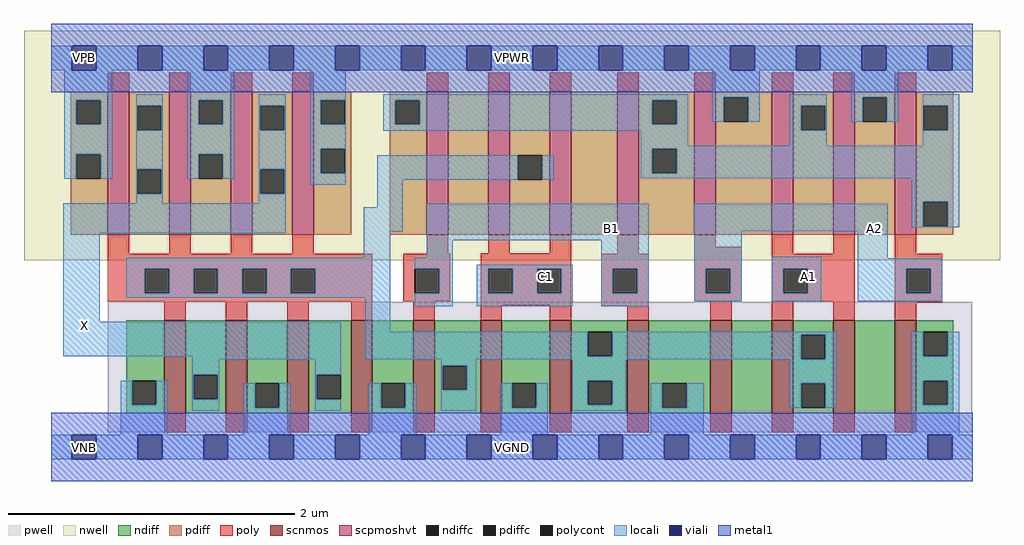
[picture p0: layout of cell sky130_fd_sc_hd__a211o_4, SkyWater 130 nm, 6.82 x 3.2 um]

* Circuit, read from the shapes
.subckt sky130_fd_sc_hd__a211o_4 A1 A2 B1 C1 VGND VNB VPB VPWR X
XM1 X n1 VGND VNB sky130_fd_pr__nfet_01v8 w=0.65 l=0.15 m=4
XM2 n1 B1 VGND VNB sky130_fd_pr__nfet_01v8 w=0.65 l=0.15 m=2
XM3 VGND C1 n1 VNB sky130_fd_pr__nfet_01v8 w=0.65 l=0.15 m=2
XM4 n2 A2 VGND VNB sky130_fd_pr__nfet_01v8 w=0.65 l=0.15
XM5 n1 A1 n2 VNB sky130_fd_pr__nfet_01v8 w=0.65 l=0.15
XM6 n3 A1 n1 VNB sky130_fd_pr__nfet_01v8 w=0.65 l=0.15
XM7 VGND A2 n3 VNB sky130_fd_pr__nfet_01v8 w=0.65 l=0.15
XM8 X n1 VPWR VPB sky130_fd_pr__pfet_01v8_hvt w=1 l=0.15 m=4
XM9 n4 B1 n5 VPB sky130_fd_pr__pfet_01v8_hvt w=1 l=0.15
XM10 n1 C1 n4 VPB sky130_fd_pr__pfet_01v8_hvt w=1 l=0.15
XM11 n6 C1 n1 VPB sky130_fd_pr__pfet_01v8_hvt w=1 l=0.15
XM12 n5 B1 n6 VPB sky130_fd_pr__pfet_01v8_hvt w=1 l=0.15
XM13 VPWR A2 n5 VPB sky130_fd_pr__pfet_01v8_hvt w=1 l=0.15 m=2
XM14 n5 A1 VPWR VPB sky130_fd_pr__pfet_01v8_hvt w=1 l=0.15 m=2
.ends

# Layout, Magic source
magic
tech sky130B
magscale 1 2
<< nwell >>
rect -38 261 1326 582
<< pwell >>
rect 79 21 1287 203
rect 29 -17 63 17
<< scnmos >>
rect 158 47 188 177
rect 244 47 274 177
rect 330 47 360 177
rect 419 47 449 177
rect 506 47 536 177
rect 600 47 630 177
rect 697 47 727 177
rect 805 47 835 177
rect 921 47 951 177
rect 1007 47 1037 177
rect 1093 47 1123 177
rect 1179 47 1209 177
<< scpmoshvt >>
rect 79 297 109 497
rect 165 297 195 497
rect 251 297 281 497
rect 337 297 367 497
rect 525 297 555 497
rect 611 297 641 497
rect 697 297 727 497
rect 791 297 821 497
rect 899 297 929 497
rect 1007 297 1037 497
rect 1093 297 1123 497
rect 1179 297 1209 497
<< ndiff >>
rect 105 93 158 177
rect 105 59 113 93
rect 147 59 158 93
rect 105 47 158 59
rect 188 101 244 177
rect 188 67 199 101
rect 233 67 244 101
rect 188 47 244 67
rect 274 89 330 177
rect 274 55 285 89
rect 319 55 330 89
rect 274 47 330 55
rect 360 101 419 177
rect 360 67 371 101
rect 405 67 419 101
rect 360 47 419 67
rect 449 89 506 177
rect 449 55 461 89
rect 495 55 506 89
rect 449 47 506 55
rect 536 114 600 177
rect 536 80 547 114
rect 581 80 600 114
rect 536 47 600 80
rect 630 89 697 177
rect 630 55 644 89
rect 678 55 697 89
rect 630 47 697 55
rect 727 161 805 177
rect 727 127 750 161
rect 784 127 805 161
rect 727 93 805 127
rect 727 59 750 93
rect 784 59 805 93
rect 727 47 805 59
rect 835 89 921 177
rect 835 55 854 89
rect 888 55 921 89
rect 835 47 921 55
rect 951 47 1007 177
rect 1037 157 1093 177
rect 1037 123 1048 157
rect 1082 123 1093 157
rect 1037 89 1093 123
rect 1037 55 1048 89
rect 1082 55 1093 89
rect 1037 47 1093 55
rect 1123 47 1179 177
rect 1209 161 1261 177
rect 1209 127 1219 161
rect 1253 127 1261 161
rect 1209 93 1261 127
rect 1209 59 1219 93
rect 1253 59 1261 93
rect 1209 47 1261 59
<< pdiff >>
rect 27 485 79 497
rect 27 451 35 485
rect 69 451 79 485
rect 27 409 79 451
rect 27 375 35 409
rect 69 375 79 409
rect 27 297 79 375
rect 109 477 165 497
rect 109 443 120 477
rect 154 443 165 477
rect 109 388 165 443
rect 109 354 120 388
rect 154 354 165 388
rect 109 297 165 354
rect 195 485 251 497
rect 195 451 206 485
rect 240 451 251 485
rect 195 409 251 451
rect 195 375 206 409
rect 240 375 251 409
rect 195 297 251 375
rect 281 477 337 497
rect 281 443 292 477
rect 326 443 337 477
rect 281 388 337 443
rect 281 354 292 388
rect 326 354 337 388
rect 281 297 337 354
rect 367 485 419 497
rect 367 451 377 485
rect 411 451 419 485
rect 367 417 419 451
rect 367 383 377 417
rect 411 383 419 417
rect 367 297 419 383
rect 473 485 525 497
rect 473 451 481 485
rect 515 451 525 485
rect 473 297 525 451
rect 555 297 611 497
rect 641 408 697 497
rect 641 374 652 408
rect 686 374 697 408
rect 641 297 697 374
rect 727 297 791 497
rect 821 485 899 497
rect 821 451 840 485
rect 874 451 899 485
rect 821 417 899 451
rect 821 383 840 417
rect 874 383 899 417
rect 821 297 899 383
rect 929 489 1007 497
rect 929 455 940 489
rect 974 455 1007 489
rect 929 297 1007 455
rect 1037 477 1093 497
rect 1037 443 1048 477
rect 1082 443 1093 477
rect 1037 297 1093 443
rect 1123 489 1179 497
rect 1123 455 1134 489
rect 1168 455 1179 489
rect 1123 297 1179 455
rect 1209 477 1261 497
rect 1209 443 1219 477
rect 1253 443 1261 477
rect 1209 343 1261 443
rect 1209 309 1219 343
rect 1253 309 1261 343
rect 1209 297 1261 309
<< ndiffc >>
rect 113 59 147 93
rect 199 67 233 101
rect 285 55 319 89
rect 371 67 405 101
rect 461 55 495 89
rect 547 80 581 114
rect 644 55 678 89
rect 750 127 784 161
rect 750 59 784 93
rect 854 55 888 89
rect 1048 123 1082 157
rect 1048 55 1082 89
rect 1219 127 1253 161
rect 1219 59 1253 93
<< pdiffc >>
rect 35 451 69 485
rect 35 375 69 409
rect 120 443 154 477
rect 120 354 154 388
rect 206 451 240 485
rect 206 375 240 409
rect 292 443 326 477
rect 292 354 326 388
rect 377 451 411 485
rect 377 383 411 417
rect 481 451 515 485
rect 652 374 686 408
rect 840 451 874 485
rect 840 383 874 417
rect 940 455 974 489
rect 1048 443 1082 477
rect 1134 455 1168 489
rect 1219 443 1253 477
rect 1219 309 1253 343
<< poly >>
rect 79 497 109 523
rect 165 497 195 523
rect 251 497 281 523
rect 337 497 367 523
rect 525 497 555 523
rect 611 497 641 523
rect 697 497 727 523
rect 791 497 821 523
rect 899 497 929 523
rect 1007 497 1037 523
rect 1093 497 1123 523
rect 1179 497 1209 523
rect 79 270 109 297
rect 165 270 195 297
rect 251 270 281 297
rect 337 270 367 297
rect 525 270 555 297
rect 611 271 641 297
rect 697 271 727 297
rect 79 249 449 270
rect 79 215 131 249
rect 165 215 199 249
rect 233 215 267 249
rect 301 215 335 249
rect 369 215 449 249
rect 79 204 449 215
rect 492 249 558 270
rect 492 215 508 249
rect 542 215 558 249
rect 492 204 558 215
rect 600 249 727 271
rect 791 270 821 297
rect 899 280 929 297
rect 600 215 611 249
rect 645 215 679 249
rect 713 215 727 249
rect 158 177 188 204
rect 244 177 274 204
rect 330 177 360 204
rect 419 177 449 204
rect 506 177 536 204
rect 600 198 727 215
rect 600 177 630 198
rect 697 177 727 198
rect 769 249 835 270
rect 769 215 785 249
rect 819 215 835 249
rect 769 197 835 215
rect 899 249 965 280
rect 899 215 915 249
rect 949 215 965 249
rect 899 204 965 215
rect 1007 270 1037 297
rect 1093 270 1123 297
rect 1007 249 1123 270
rect 1007 215 1023 249
rect 1057 215 1123 249
rect 1007 204 1123 215
rect 805 177 835 197
rect 921 177 951 204
rect 1007 177 1037 204
rect 1093 177 1123 204
rect 1179 270 1209 297
rect 1179 249 1245 270
rect 1179 215 1195 249
rect 1229 215 1245 249
rect 1179 202 1245 215
rect 1179 177 1209 202
rect 158 21 188 47
rect 244 21 274 47
rect 330 21 360 47
rect 419 21 449 47
rect 506 21 536 47
rect 600 21 630 47
rect 697 21 727 47
rect 805 21 835 47
rect 921 21 951 47
rect 1007 21 1037 47
rect 1093 21 1123 47
rect 1179 21 1209 47
<< polycont >>
rect 131 215 165 249
rect 199 215 233 249
rect 267 215 301 249
rect 335 215 369 249
rect 508 215 542 249
rect 611 215 645 249
rect 679 215 713 249
rect 785 215 819 249
rect 915 215 949 249
rect 1023 215 1057 249
rect 1195 215 1229 249
<< locali >>
rect 0 527 29 561
rect 63 527 121 561
rect 155 527 213 561
rect 247 527 305 561
rect 339 527 397 561
rect 431 527 489 561
rect 523 527 581 561
rect 615 527 673 561
rect 707 527 765 561
rect 799 527 857 561
rect 891 527 949 561
rect 983 527 1041 561
rect 1075 527 1133 561
rect 1167 527 1225 561
rect 1259 527 1288 561
rect 18 485 85 527
rect 18 451 35 485
rect 69 451 85 485
rect 18 409 85 451
rect 18 375 35 409
rect 69 375 85 409
rect 119 477 156 493
rect 119 443 120 477
rect 154 443 156 477
rect 119 388 156 443
rect 119 354 120 388
rect 154 354 156 388
rect 190 485 256 527
rect 190 451 206 485
rect 240 451 256 485
rect 190 409 256 451
rect 190 375 206 409
rect 240 375 256 409
rect 290 477 328 493
rect 290 443 292 477
rect 326 443 328 477
rect 290 388 328 443
rect 119 341 156 354
rect 290 354 292 388
rect 326 354 328 388
rect 362 485 412 527
rect 362 451 377 485
rect 411 451 412 485
rect 362 417 412 451
rect 464 485 890 493
rect 464 451 481 485
rect 515 451 840 485
rect 874 451 890 485
rect 924 489 990 527
rect 924 455 940 489
rect 974 455 990 489
rect 1032 477 1084 493
rect 464 442 890 451
rect 362 383 377 417
rect 411 383 412 417
rect 824 421 890 442
rect 1032 443 1048 477
rect 1082 443 1084 477
rect 1118 489 1184 527
rect 1118 455 1134 489
rect 1168 455 1184 489
rect 1218 477 1269 493
rect 1032 421 1084 443
rect 1218 443 1219 477
rect 1253 443 1269 477
rect 1218 421 1269 443
rect 824 417 1269 421
rect 362 367 412 383
rect 456 374 652 408
rect 686 374 702 408
rect 824 383 840 417
rect 874 383 1269 417
rect 824 376 1269 383
rect 290 341 328 354
rect 17 299 328 341
rect 456 335 491 374
rect 1203 343 1269 376
rect 437 301 491 335
rect 17 175 68 299
rect 437 265 474 301
rect 525 289 835 340
rect 525 265 561 289
rect 105 249 474 265
rect 105 215 131 249
rect 165 215 199 249
rect 233 215 267 249
rect 301 215 335 249
rect 369 215 474 249
rect 105 209 474 215
rect 17 127 405 175
rect 197 123 405 127
rect 439 161 474 209
rect 508 249 561 265
rect 542 215 561 249
rect 508 197 561 215
rect 595 249 729 255
rect 595 215 611 249
rect 645 215 679 249
rect 713 215 729 249
rect 595 197 729 215
rect 769 249 835 289
rect 769 215 785 249
rect 819 215 835 249
rect 769 197 835 215
rect 899 302 1169 340
rect 1203 309 1219 343
rect 1253 309 1269 343
rect 1203 307 1269 309
rect 899 249 965 302
rect 899 215 915 249
rect 949 215 965 249
rect 899 204 965 215
rect 1007 249 1076 266
rect 1007 215 1023 249
rect 1057 215 1076 249
rect 1007 204 1076 215
rect 1127 264 1169 302
rect 1127 249 1245 264
rect 1127 215 1195 249
rect 1229 215 1245 249
rect 1127 204 1245 215
rect 439 127 750 161
rect 784 157 1098 161
rect 784 127 1048 157
rect 439 123 1048 127
rect 1082 123 1098 157
rect 197 101 235 123
rect 97 59 113 93
rect 147 59 163 93
rect 97 17 163 59
rect 197 67 199 101
rect 233 67 235 101
rect 369 101 405 123
rect 197 51 235 67
rect 269 55 285 89
rect 319 55 335 89
rect 269 17 335 55
rect 369 67 371 101
rect 545 114 594 123
rect 369 51 405 67
rect 444 55 461 89
rect 495 55 511 89
rect 444 17 511 55
rect 545 80 547 114
rect 581 80 594 114
rect 728 93 804 123
rect 545 51 594 80
rect 628 55 644 89
rect 678 55 694 89
rect 628 17 694 55
rect 728 59 750 93
rect 784 59 804 93
rect 1032 89 1098 123
rect 728 51 804 59
rect 838 55 854 89
rect 888 55 912 89
rect 1032 55 1048 89
rect 1082 55 1098 89
rect 1203 127 1219 161
rect 1253 127 1269 161
rect 1203 93 1269 127
rect 1203 59 1219 93
rect 1253 59 1269 93
rect 838 17 912 55
rect 1203 17 1269 59
rect 0 -17 29 17
rect 63 -17 121 17
rect 155 -17 213 17
rect 247 -17 305 17
rect 339 -17 397 17
rect 431 -17 489 17
rect 523 -17 581 17
rect 615 -17 673 17
rect 707 -17 765 17
rect 799 -17 857 17
rect 891 -17 949 17
rect 983 -17 1041 17
rect 1075 -17 1133 17
rect 1167 -17 1225 17
rect 1259 -17 1288 17
<< viali >>
rect 29 527 63 561
rect 121 527 155 561
rect 213 527 247 561
rect 305 527 339 561
rect 397 527 431 561
rect 489 527 523 561
rect 581 527 615 561
rect 673 527 707 561
rect 765 527 799 561
rect 857 527 891 561
rect 949 527 983 561
rect 1041 527 1075 561
rect 1133 527 1167 561
rect 1225 527 1259 561
rect 29 -17 63 17
rect 121 -17 155 17
rect 213 -17 247 17
rect 305 -17 339 17
rect 397 -17 431 17
rect 489 -17 523 17
rect 581 -17 615 17
rect 673 -17 707 17
rect 765 -17 799 17
rect 857 -17 891 17
rect 949 -17 983 17
rect 1041 -17 1075 17
rect 1133 -17 1167 17
rect 1225 -17 1259 17
<< metal1 >>
rect 0 561 1288 592
rect 0 527 29 561
rect 63 527 121 561
rect 155 527 213 561
rect 247 527 305 561
rect 339 527 397 561
rect 431 527 489 561
rect 523 527 581 561
rect 615 527 673 561
rect 707 527 765 561
rect 799 527 857 561
rect 891 527 949 561
rect 983 527 1041 561
rect 1075 527 1133 561
rect 1167 527 1225 561
rect 1259 527 1288 561
rect 0 496 1288 527
rect 0 17 1288 48
rect 0 -17 29 17
rect 63 -17 121 17
rect 155 -17 213 17
rect 247 -17 305 17
rect 339 -17 397 17
rect 431 -17 489 17
rect 523 -17 581 17
rect 615 -17 673 17
rect 707 -17 765 17
rect 799 -17 857 17
rect 891 -17 949 17
rect 983 -17 1041 17
rect 1075 -17 1133 17
rect 1167 -17 1225 17
rect 1259 -17 1288 17
rect 0 -48 1288 -17
<< labels >>
flabel pwell s 29 -17 63 17 0 FreeSans 200 0 0 0 VNB
port 6 nsew ground bidirectional
flabel nwell s 29 527 63 561 0 FreeSans 200 0 0 0 VPB
port 7 nsew power bidirectional
flabel metal1 s 29 -17 63 17 0 FreeSans 200 0 0 0 VGND
port 5 nsew ground bidirectional abutment
flabel metal1 s 29 527 63 561 0 FreeSans 200 0 0 0 VPWR
port 8 nsew power bidirectional abutment
flabel locali s 674 221 708 255 0 FreeSans 340 0 0 0 C1
port 4 nsew signal input
flabel locali s 766 289 800 323 0 FreeSans 340 0 0 0 B1
port 3 nsew signal input
flabel locali s 29 153 63 187 0 FreeSans 340 0 0 0 X
port 9 nsew signal output
flabel locali s 1134 289 1168 323 0 FreeSans 340 0 0 0 A2
port 2 nsew signal input
flabel locali s 1042 221 1076 255 0 FreeSans 340 0 0 0 A1
port 1 nsew signal input
rlabel comment s 0 0 0 0 4 a211o_4
rlabel metal1 s 0 -48 1288 48 1 VGND
port 5 nsew ground bidirectional abutment
rlabel metal1 s 0 496 1288 592 1 VPWR
port 8 nsew power bidirectional abutment
<< properties >>
string FIXED_BBOX 0 0 1288 544
string GDS_END 3614902
string GDS_FILE $PDKPATH/libs.ref/sky130_fd_sc_hd/gds/sky130_fd_sc_hd.gds
string GDS_START 3605842
string LEFclass CORE
string LEFsite unithd
string LEFsymmetry X Y R90
string path 0.000 13.600 32.200 13.600 
<< end >>
